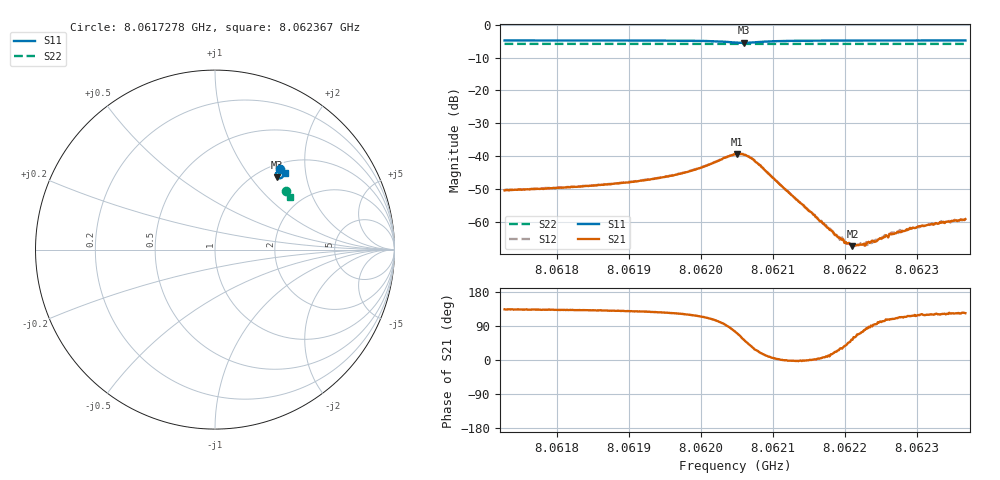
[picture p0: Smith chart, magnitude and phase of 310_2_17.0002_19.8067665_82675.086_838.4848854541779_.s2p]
#  HZ  S  RI  R  50.00
! Rohde & Schwarz Vector Network Analyzer
! Rohde-Schwarz,ZNB20-2Port,1311601062101988,3.16
! Created: UTC 3/20/2024, 11:05:58 PM
! freq[Hz]  re:S11  im:S11  re:S21  im:S21  re:S12  im:S12  re:S22  im:S22
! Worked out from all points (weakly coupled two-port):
!   401 points, 8.0617278 GHz to 8.062367 GHz, reference 50 ohm
!   highest |S21| = -39.36 dB at 8.0620506 GHz (marker M1); lowest = -67.4 dB at 8.0622104 GHz (marker M2)
!   lowest |S11| = -5.5 dB at 8.0620602 GHz (marker M3), VSWR 3.26, Z = 60.7 + j68.1 ohm
!   |S11| at or under -10 dB: nowhere
!   |S22| runs from -5.9 to -5.8 dB; largest |S21 - S12| = 0.00079
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8.06172777e9  0.36 0.4495  -0.00208 0.00217  -0.00197 0.00233  0.3928 0.3268
8.06183485e9  0.3675 0.4431  -0.00228 0.00259  -0.00212 0.00275  0.3971 0.3215
8.06189877e9  0.3724 0.4383  -0.00251 0.00307  -0.00233 0.00331  0.3994 0.3182
8.06194192e9  0.376 0.4336  -0.00271 0.00375  -0.00248 0.00396  0.401 0.3161
8.06198987e9  0.3801 0.4241  -0.00287 0.00539  -0.00258 0.00562  0.4028 0.3133
8.06204741e9  0.361 0.397  0.00271 0.0102  0.00344 0.0101  0.4035 0.3096
8.0620506e9  0.357 0.3973  0.00369 0.0101  0.00443 0.00997  0.4034 0.3096
8.06206019e9  0.3447 0.403  0.00634 0.00828  0.00691 0.00803  0.4033 0.3096
8.06206978e9  0.3386 0.4146  0.00751 0.00559  0.00787 0.00503  0.4035 0.3097
8.06208097e9  0.3403 0.4273  0.00686 0.0026  0.00713 0.0022  0.4042 0.3097
8.06215449e9  0.3678 0.4384  0.00135 1.17e-05  0.00138 -6.52e-05  0.4081 0.3064
8.06219124e9  0.3735 0.4361  0.000515 0.000248  0.000537 0.000234  0.4097 0.3045
8.06220083e9  0.3747 0.4355  0.000388 0.000305  0.000382 0.00027  0.41 0.304
8.06221042e9  0.3758 0.4348  0.000252 0.000342  0.000302 0.000327  0.4105 0.3034
8.0622264e9  0.3774 0.4338  8.95e-05 0.000455  0.000119 0.000416  0.4111 0.3027
8.0622344e9  0.3783 0.4334  3.34e-05 0.000473  1.39e-05 0.000476  0.4113 0.3023
8.06224398e9  0.3791 0.4328  -4.07e-05 0.000505  -1.87e-05 0.000524  0.4116 0.3017
8.06226156e9  0.3807 0.4315  -0.000181 0.000617  -0.000151 0.000638  0.4123 0.3008
8.06229673e9  0.3834 0.4297  -0.000387 0.000701  -0.000349 0.00075  0.4135 0.299
8.06230472e9  0.384 0.4293  -0.000425 0.000738  -0.000361 0.000773  0.4137 0.2985
8.06233029e9  0.3857 0.4278  -0.00048 0.000804  -0.000462 0.000849  0.4146 0.2974
8.06236705e9  0.3883 0.4256  -0.000606 0.000913  -0.000546 0.000949  0.4161 0.2955
